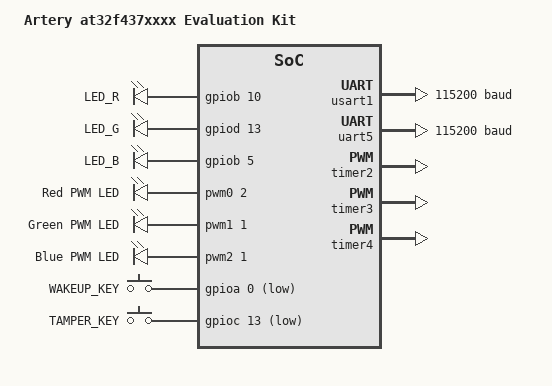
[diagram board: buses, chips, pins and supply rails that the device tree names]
/*
 * Copyright (c) 2022, YuLong Yao <feilongphone@gmail.com>
 * SPDX-License-Identifier: Apache-2.0
 */

/dts-v1/;

#include <artery/at32f43x/at32f437zmt7.dtsi>
#include "at_surf_f437-pinctrl.dtsi"

/ {
	model = "Artery at32f437xxxx Evaluation Kit";
	compatible = "artery,at32f437v";

	chosen {
		zephyr,sram = &sram0;
		zephyr,flash = &flash0;
		zephyr,console = &usart1;
		zephyr,shell-uart = &usart1;
	};

	leds {
		compatible = "gpio-leds";
		red_led: led2 {
			gpios = <&gpiob 10 GPIO_ACTIVE_HIGH>;
			label = "LED_R";
		};

		green_led: led3 {
			gpios = <&gpiod 13 GPIO_ACTIVE_HIGH>;
			label = "LED_G";
		};

		blue_led: led4 {
			gpios = <&gpiob 5 GPIO_ACTIVE_HIGH>;
			label = "LED_B";
		};
	};

	pwmleds {
		compatible = "pwm-leds";

		red_pwm_led: led_pwm_0 {
			pwms = <&pwm0 2 PWM_MSEC(20) PWM_POLARITY_NORMAL>;
			label = "Red PWM LED";
		};

		green_pwm_led: led_pwm_1 {
			pwms = <&pwm1 1 PWM_MSEC(20) PWM_POLARITY_NORMAL>;
			label = "Green PWM LED";
		};

		blue_pwm_led: led_pwm_2 {
			pwms = <&pwm2 1 PWM_MSEC(20) PWM_POLARITY_NORMAL>;
			label = "Blue PWM LED";
		};
	};

	gpio_keys {
		compatible = "gpio-keys";
		wakeup_key: wakeup_key {
			label = "WAKEUP_KEY";
			gpios = <&gpioa 0 GPIO_ACTIVE_LOW>;
		};
		tamper_key: tamper_key {
			label = "TAMPER_KEY";
			gpios = <&gpioc 13 GPIO_ACTIVE_LOW>;
		};
	};

	aliases {
		led0 = &red_led;
		led1 = &green_led;
		led2 = &blue_led;
		pwm-led0 = &red_pwm_led;
		pwm-led1 = &green_pwm_led;
		pwm-led2 = &blue_pwm_led;
		red-pwm-led = &red_pwm_led;
		green-pwm-led = &green_pwm_led;
		blue-pwm-led = &blue_pwm_led;
		sw0 = &wakeup_key;
	};

};

&gpioa {
	status = "okay";
};

&gpiob {
	status = "okay";
};

&gpioc {
	status = "okay";
};

&gpiod {
	status = "okay";
};

&gpioe {
	status = "okay";
};

&gpiof {
	status = "okay";
};

&gpiog {
	status = "okay";
};

&gpioh {
	status = "okay";
};

&usart1 {
	status = "okay";
	current-speed = <115200>;
	pinctrl-0 = <&usart1_default>;
	pinctrl-names = "default";
};

&uart5 {
	status = "okay";
	current-speed = <115200>;
	pinctrl-0 = <&uart5_default>;
	pinctrl-names = "default";
};

&timer2 {
	status = "okay";
	prescaler = <128>;

	pwm0: pwm {
		status = "okay";
		pinctrl-0 = <&pwm0_default>;
		pinctrl-names = "default";
	};
};

&timer3 {
	status = "okay";
	prescaler = <128>;

	pwm1: pwm {
		status = "okay";
		pinctrl-0 = <&pwm1_default>;
		pinctrl-names = "default";
	};
};

&timer4 {
	status = "okay";
	prescaler = <128>;

	pwm2: pwm {
		status = "okay";
		pinctrl-0 = <&pwm2_default>;
		pinctrl-names = "default";
	};
};
